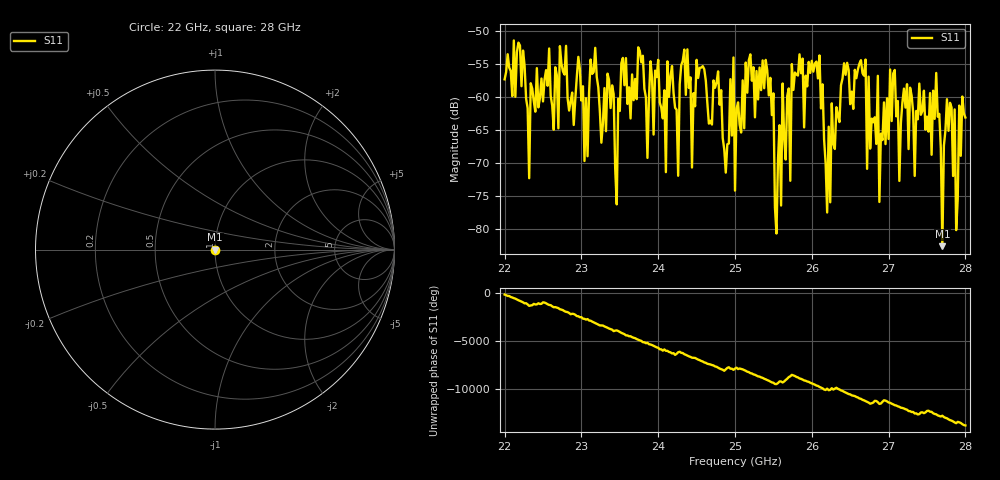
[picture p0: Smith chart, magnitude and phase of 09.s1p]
#  HZ  S  RI  R  50.00
! Rohde & Schwarz ZVA40 4Ports - Version 3.90 - 1145.1110k42 SN: 100403
! Date: 2023-10-04 11:45:25
! Measurement: S12
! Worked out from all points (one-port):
!   301 points, 22 GHz to 28 GHz, reference 50 ohm
!   lowest |S11| = -82.6 dB at 27.7 GHz (marker M1), VSWR 1.00, Z = 50 + j0.000258 ohm
!   |S11| at or under -10 dB: start of sweep to end of sweep
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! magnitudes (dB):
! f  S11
! 22 GHz  -57.3
! 22.24 GHz  -52.9
! 22.32 GHz  -72.3
! 22.76 GHz  -56.1
! 23.34 GHz  -56.4
! 23.46 GHz  -76.2
! 23.5 GHz  -62.1
! 24 GHz  -54.3
! 24.1 GHz  -71.4
! 24.18 GHz  -55.3
! 24.26 GHz  -71.9
! 24.34 GHz  -52.8
! 24.44 GHz  -70.7
! 24.98 GHz  -54.0
! 25 GHz  -74.2
! 25.4 GHz  -54.3
! 25.54 GHz  -80.7
! 25.76 GHz  -58.9
! 26.1 GHz  -53.7
! 26.2 GHz  -77.5
! 26.5 GHz  -61.1
! 27.26 GHz  -67.9
! 27.62 GHz  -56.3
! 27.7 GHz  -82.6
! 27.76 GHz  -60.3
! 27.86 GHz  -61.8
! 27.88 GHz  -80.2
! 28 GHz  -63.1
